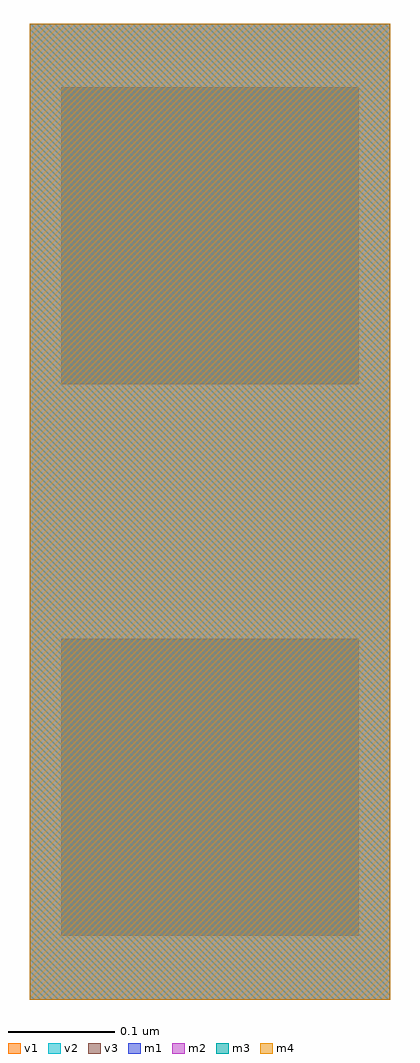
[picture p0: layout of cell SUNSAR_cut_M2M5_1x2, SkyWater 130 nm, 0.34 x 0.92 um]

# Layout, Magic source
magic
tech sky130A
magscale 1 2
<< m1 >>
rect 0 0 68 184
<< v1 >>
rect 6 12 62 68
rect 6 116 62 172
<< m2 >>
rect 0 0 68 184
<< v2 >>
rect 6 12 62 68
rect 6 116 62 172
<< m3 >>
rect 0 0 68 184
<< v3 >>
rect 6 12 62 68
rect 6 116 62 172
<< m4 >>
rect 0 0 68 184
<< labels >>
<< properties >>
string FIXED_BBOX 0 0 68 184
<< end >>
